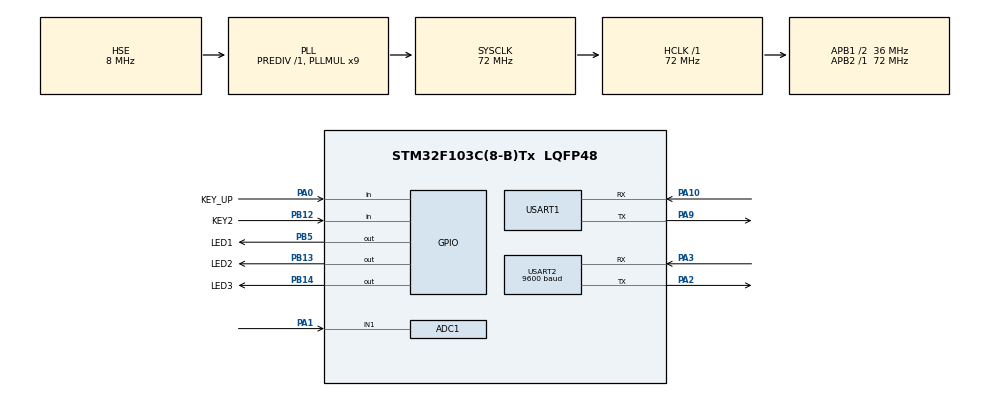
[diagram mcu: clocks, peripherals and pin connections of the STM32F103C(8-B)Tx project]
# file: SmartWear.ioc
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ADC1.Channel-0\#ChannelRegularConversion=ADC_CHANNEL_1
ADC1.NbrOfConversionFlag=1
ADC1.Rank-0\#ChannelRegularConversion=1
ADC1.SamplingTime-0\#ChannelRegularConversion=ADC_SAMPLETIME_1CYCLE_5
ADC1.master=1
Mcu.Family=STM32F1
Mcu.Name=STM32F103C(8-B)Tx
Mcu.Package=LQFP48
NVIC.PriorityGroup=NVIC_PRIORITYGROUP_2
NVIC.RTC_IRQn=true\:1\:0\:true\:false\:true\:true\:true\:true
NVIC.USART1_IRQn=true\:0\:0\:true\:false\:true\:true\:true\:true
NVIC.USART2_IRQn=true\:2\:0\:true\:false\:true\:true\:true\:true
PA0-WKUP.GPIO_Label=KEY_UP
PA0-WKUP.GPIO_PuPd=GPIO_PULLDOWN
PA0-WKUP.Signal=GPIO_Input
PA1.Signal=ADCx_IN1
PA10.Mode=Asynchronous
PA10.Signal=USART1_RX
PA2.Mode=Asynchronous
PA2.Signal=USART2_TX
PA3.Mode=Asynchronous
PA3.Signal=USART2_RX
PA9.Mode=Asynchronous
PA9.Signal=USART1_TX
PB12.GPIO_Label=KEY2
PB12.GPIO_PuPd=GPIO_PULLUP
PB12.Signal=GPIO_Input
PB13.GPIO_Label=LED2
PB13.GPIO_PuPd=GPIO_PULLUP
PB13.GPIO_Speed=GPIO_SPEED_FREQ_HIGH
PB13.PinState=GPIO_PIN_SET
PB13.Signal=GPIO_Output
PB14.GPIO_Label=LED3
PB14.GPIO_PuPd=GPIO_PULLUP
PB14.GPIO_Speed=GPIO_SPEED_FREQ_HIGH
PB14.PinState=GPIO_PIN_SET
PB14.Signal=GPIO_Output
PB5.GPIO_Label=LED1
PB5.GPIO_ModeDefaultOutputPP=GPIO_MODE_OUTPUT_PP
PB5.GPIO_PuPd=GPIO_PULLUP
PB5.GPIO_Speed=GPIO_SPEED_FREQ_HIGH
PB5.PinState=GPIO_PIN_SET
PB5.Signal=GPIO_Output
PC14-OSC32_IN.Mode=LSE-External-Oscillator
PC14-OSC32_IN.Signal=RCC_OSC32_IN
PC15-OSC32_OUT.Mode=LSE-External-Oscillator
PC15-OSC32_OUT.Signal=RCC_OSC32_OUT
PD0-OSC_IN.Mode=HSE-External-Oscillator
PD0-OSC_IN.Signal=RCC_OSC_IN
PD1-OSC_OUT.Mode=HSE-External-Oscillator
PD1-OSC_OUT.Signal=RCC_OSC_OUT
ProjectManager.HeapSize=0x200
ProjectManager.StackSize=0x400
ProjectManager.TargetToolchain=MDK-ARM V5.27
RCC.ADCPresc=RCC_ADCPCLK2_DIV6
RCC.AHBFreq_Value=72000000
RCC.APB1CLKDivider=RCC_HCLK_DIV2
RCC.APB1Freq_Value=36000000
RCC.APB1TimFreq_Value=72000000
RCC.APB2Freq_Value=72000000
RCC.APB2TimFreq_Value=72000000
RCC.HCLKFreq_Value=72000000
RCC.PLLMUL=RCC_PLL_MUL9
RCC.PLLSourceVirtual=RCC_PLLSOURCE_HSE
RCC.RTCClockSelection=RCC_RTCCLKSOURCE_LSE
RCC.SYSCLKFreq_VALUE=72000000
RCC.SYSCLKSource=RCC_SYSCLKSOURCE_PLLCLK
RCC.USBFreq_Value=72000000
RTC.Date=24
RTC.Format=RTC_FORMAT_BIN
RTC.Hours=9
RTC.Minutes=31
RTC.Month=RTC_MONTH_FEBRUARY
RTC.WeekDay=RTC_WEEKDAY_FRIDAY
RTC.Year=23
SH.ADCx_IN1.0=ADC1_IN1,IN1
USART1.VirtualMode=VM_ASYNC
USART2.BaudRate=9600
USART2.VirtualMode=VM_ASYNC
VP_RTC_No_RTC_Output.Mode=RTC_OUT_NO
VP_RTC_VS_RTC_Activate.Mode=RTC_Enabled
VP_RTC_VS_RTC_Calendar.Mode=RTC_Calendar
VP_SYS_VS_ND.Mode=No_Debug
board=custom

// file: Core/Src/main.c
/* USER CODE BEGIN Header */
/**
  ******************************************************************************
  * @file           : main.c
  * @brief          : Main program body
  ******************************************************************************
  * @attention
  *
  * Copyright (c) 2023 STMicroelectronics.
  * All rights reserved.
  *
  * This software is licensed under terms that can be found in the LICENSE file
  * in the root directory of this software component.
  * If no LICENSE file comes with this software, it is provided AS-IS.
  *
  ******************************************************************************
  */
/* USER CODE END Header */
#include "main.h"
#include "adc.h"
#include "rtc.h"
#include "usart.h"
#include "gpio.h"

/* USER CODE BEGIN Includes */
#include "led.h"
#include "key.h"
#include "HeartRateConversion.h"
/* USER CODE END Includes */

/* USER CODE BEGIN PV */
RTC_TimeTypeDef GetTime;
RTC_DateTypeDef GetDate;
RTC_AlarmTypeDef sAlarm;
/* USER CODE END PV */

void SystemClock_Config(void);

int main(void)
{
  /* USER CODE BEGIN 1 */
    uint16_t usCount = 0;
    uint16_t adValue;
  /* USER CODE END 1 */

  /* MCU Configuration--------------------------------------------------------*/

  /* Reset of all peripherals, Initializes the Flash interface and the Systick. */
  HAL_Init();

  /* Configure the system clock */
  SystemClock_Config();

  /* Initialize all configured peripherals */
  MX_GPIO_Init();
  MX_USART1_UART_Init();
  MX_USART2_UART_Init();
  MX_ADC1_Init();
  MX_RTC_Init();
  /* USER CODE BEGIN 2 */

//  sAlarm.AlarmTime.Hours = 15;
//  sAlarm.AlarmTime.Hours = 41;
//  sAlarm.AlarmTime.Hours = 10;
//  HAL_RTC_SetAlarm_IT(&hrtc, &sAlarm, RTC_FORMAT_BCD);
  TEMP_Init();
  /* USER CODE END 2 */

  /* Infinite loop */
  while (1)
  {

    /* USER CODE BEGIN 3 */
    HAL_Delay(1);
    /* 运行指示灯：100ms */
    usCount++;

    /* 红外测温采集 */
    GetTempInfo();
    HAL_Delay(500);
    /* 心率采集 */
    HAL_ADC_Start(&hadc1);                //启动AD
    HAL_ADC_PollForConversion(&hadc1, 1); //启动一次A/D转换
    adValue = HAL_ADC_GetValue(&hadc1);   //读取结果
    HeartRate_conversion(adValue);        //心率算法
    if (QS == 1)
    {
        printf("BPM=%d\n", BPM);
        QS = 0;
    }

    /* 获取键值 */
    uint8_t ucKeyVal = KEY_Scan();
    switch (ucKeyVal)
    {
      case KEY_UP_PRES: printf("KEY_UP_PRES\r\n");
          break;
      case KEY2_PRES:   printf("KEY2_PRES\r\n");
          break;
    }

    /* 串口1接收数据处理 */
    if (g_ucUart1RxFlag)
    {
        printf("UART1_RX:%s\r\n", g_ucUart1RxBuf);
        g_ucUart1RxFlag = 0;
        g_ucUart1RxCnt = 0;
    }

  }
  /* USER CODE END 3 */
}

void SystemClock_Config(void)
{
  RCC_OscInitTypeDef RCC_OscInitStruct = {0};
  RCC_ClkInitTypeDef RCC_ClkInitStruct = {0};
  RCC_PeriphCLKInitTypeDef PeriphClkInit = {0};

  /** Initializes the RCC Oscillators according to the specified parameters
  * in the RCC_OscInitTypeDef structure.
  */
  RCC_OscInitStruct.OscillatorType = RCC_OSCILLATORTYPE_HSE|RCC_OSCILLATORTYPE_LSE;
  RCC_OscInitStruct.HSEState = RCC_HSE_ON;
  RCC_OscInitStruct.HSEPredivValue = RCC_HSE_PREDIV_DIV1;
  RCC_OscInitStruct.LSEState = RCC_LSE_ON;
  RCC_OscInitStruct.HSIState = RCC_HSI_ON;
  RCC_OscInitStruct.PLL.PLLState = RCC_PLL_ON;
  RCC_OscInitStruct.PLL.PLLSource = RCC_PLLSOURCE_HSE;
  RCC_OscInitStruct.PLL.PLLMUL = RCC_PLL_MUL9;
  if (HAL_RCC_OscConfig(&RCC_OscInitStruct) != HAL_OK)
  {
    Error_Handler();
  }

  /** Initializes the CPU, AHB and APB buses clocks
  */
  RCC_ClkInitStruct.ClockType = RCC_CLOCKTYPE_HCLK|RCC_CLOCKTYPE_SYSCLK
                              |RCC_CLOCKTYPE_PCLK1|RCC_CLOCKTYPE_PCLK2;
  RCC_ClkInitStruct.SYSCLKSource = RCC_SYSCLKSOURCE_PLLCLK;
  RCC_ClkInitStruct.AHBCLKDivider = RCC_SYSCLK_DIV1;
  RCC_ClkInitStruct.APB1CLKDivider = RCC_HCLK_DIV2;
  RCC_ClkInitStruct.APB2CLKDivider = RCC_HCLK_DIV1;

  if (HAL_RCC_ClockConfig(&RCC_ClkInitStruct, FLASH_LATENCY_2) != HAL_OK)
  {
    Error_Handler();
  }
  PeriphClkInit.PeriphClockSelection = RCC_PERIPHCLK_RTC|RCC_PERIPHCLK_ADC;
  PeriphClkInit.RTCClockSelection = RCC_RTCCLKSOURCE_LSE;
  PeriphClkInit.AdcClockSelection = RCC_ADCPCLK2_DIV6;
  if (HAL_RCCEx_PeriphCLKConfig(&PeriphClkInit) != HAL_OK)
  {
    Error_Handler();
  }
}

void Error_Handler(void)
{
  __disable_irq();
  while (1)
  {
  }
}
